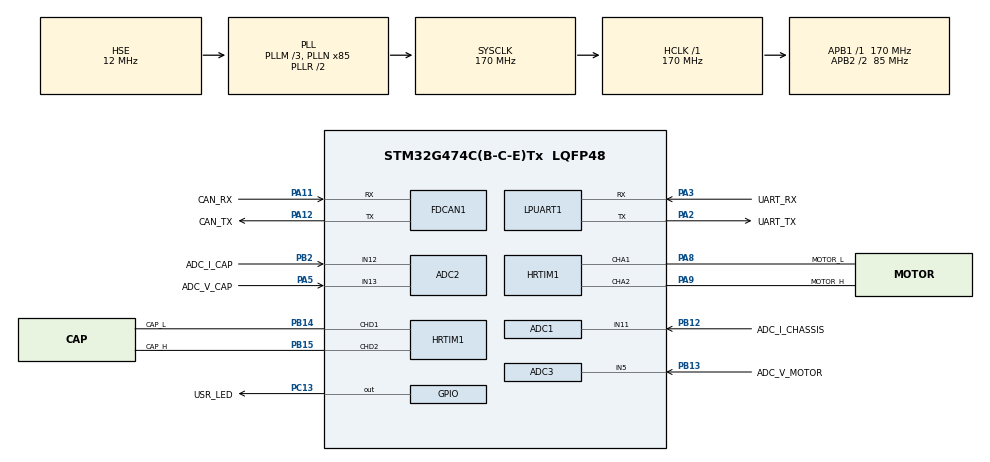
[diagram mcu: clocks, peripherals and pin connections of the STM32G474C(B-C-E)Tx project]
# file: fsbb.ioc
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ADC1.Channel-0\#ChannelRegularConversion=ADC_CHANNEL_11
ADC1.Channel-1\#ChannelRegularConversion=ADC_CHANNEL_11
ADC1.ContinuousConvMode=DISABLE
ADC1.DMAContinuousRequests=ENABLE
ADC1.EOCSelection=ADC_EOC_SEQ_CONV
ADC1.ExternalTrigConv=ADC_EXTERNALTRIG_HRTIM_TRG1
ADC1.NbrOfConversion=2
ADC1.NbrOfConversionFlag=1
ADC1.OffsetNumber-0\#ChannelRegularConversion=ADC_OFFSET_NONE
ADC1.OffsetNumber-1\#ChannelRegularConversion=ADC_OFFSET_NONE
ADC1.Overrun=ADC_OVR_DATA_OVERWRITTEN
ADC1.OversamplingMode=ENABLE
ADC1.OversamplingStopReset=ADC_REGOVERSAMPLING_CONTINUED_MODE
ADC1.Rank-0\#ChannelRegularConversion=1
ADC1.Rank-1\#ChannelRegularConversion=2
ADC1.Ratio=ADC_OVERSAMPLING_RATIO_16
ADC1.RightBitShift=ADC_RIGHTBITSHIFT_NONE
ADC1.SamplingTime-0\#ChannelRegularConversion=ADC_SAMPLETIME_12CYCLES_5
ADC1.SamplingTime-1\#ChannelRegularConversion=ADC_SAMPLETIME_92CYCLES_5
ADC1.master=1
ADC2.Channel-0\#ChannelRegularConversion=ADC_CHANNEL_12
ADC2.Channel-1\#ChannelRegularConversion=ADC_CHANNEL_13
ADC2.Channel-2\#ChannelRegularConversion=ADC_CHANNEL_12
ADC2.Channel-3\#ChannelRegularConversion=ADC_CHANNEL_13
ADC2.ContinuousConvMode=DISABLE
ADC2.DMAContinuousRequests=ENABLE
ADC2.EOCSelection=ADC_EOC_SEQ_CONV
ADC2.ExternalTrigConv=ADC_EXTERNALTRIG_HRTIM_TRG3
ADC2.NbrOfConversion=4
ADC2.NbrOfConversionFlag=1
ADC2.OffsetNumber-0\#ChannelRegularConversion=ADC_OFFSET_NONE
ADC2.OffsetNumber-1\#ChannelRegularConversion=ADC_OFFSET_NONE
ADC2.OffsetNumber-2\#ChannelRegularConversion=ADC_OFFSET_NONE
ADC2.OffsetNumber-3\#ChannelRegularConversion=ADC_OFFSET_NONE
ADC2.Overrun=ADC_OVR_DATA_OVERWRITTEN
ADC2.OversamplingMode=ENABLE
ADC2.Rank-0\#ChannelRegularConversion=1
ADC2.Rank-1\#ChannelRegularConversion=2
ADC2.Rank-2\#ChannelRegularConversion=3
ADC2.Rank-3\#ChannelRegularConversion=4
ADC2.Ratio=ADC_OVERSAMPLING_RATIO_16
ADC2.RightBitShift=ADC_RIGHTBITSHIFT_NONE
ADC2.SamplingTime-0\#ChannelRegularConversion=ADC_SAMPLETIME_12CYCLES_5
ADC2.SamplingTime-1\#ChannelRegularConversion=ADC_SAMPLETIME_92CYCLES_5
ADC2.SamplingTime-2\#ChannelRegularConversion=ADC_SAMPLETIME_92CYCLES_5
ADC2.SamplingTime-3\#ChannelRegularConversion=ADC_SAMPLETIME_92CYCLES_5
ADC3.Channel-0\#ChannelRegularConversion=ADC_CHANNEL_5
ADC3.Channel-1\#ChannelRegularConversion=ADC_CHANNEL_5
ADC3.ContinuousConvMode=DISABLE
ADC3.DMAContinuousRequests=ENABLE
ADC3.EOCSelection=ADC_EOC_SEQ_CONV
ADC3.ExternalTrigConv=ADC_EXTERNALTRIG_HRTIM_TRG1
ADC3.NbrOfConversion=2
ADC3.NbrOfConversionFlag=1
ADC3.OffsetNumber-0\#ChannelRegularConversion=ADC_OFFSET_NONE
ADC3.OffsetNumber-1\#ChannelRegularConversion=ADC_OFFSET_NONE
ADC3.Overrun=ADC_OVR_DATA_OVERWRITTEN
ADC3.OversamplingMode=ENABLE
ADC3.Rank-0\#ChannelRegularConversion=1
ADC3.Rank-1\#ChannelRegularConversion=2
ADC3.Ratio=ADC_OVERSAMPLING_RATIO_16
ADC3.RightBitShift=ADC_RIGHTBITSHIFT_NONE
ADC3.SamplingTime-0\#ChannelRegularConversion=ADC_SAMPLETIME_92CYCLES_5
ADC3.SamplingTime-1\#ChannelRegularConversion=ADC_SAMPLETIME_92CYCLES_5
ADC3.master=1
Dma.ADC1.0.Direction=DMA_PERIPH_TO_MEMORY
Dma.ADC1.0.EventEnable=DISABLE
Dma.ADC1.0.Instance=DMA1_Channel1
Dma.ADC1.0.MemDataAlignment=DMA_MDATAALIGN_HALFWORD
Dma.ADC1.0.MemInc=DMA_MINC_ENABLE
Dma.ADC1.0.Mode=DMA_CIRCULAR
Dma.ADC1.0.PeriphDataAlignment=DMA_PDATAALIGN_HALFWORD
Dma.ADC1.0.PeriphInc=DMA_PINC_DISABLE
Dma.ADC1.0.Polarity=HAL_DMAMUX_REQ_GEN_RISING
Dma.ADC1.0.Priority=DMA_PRIORITY_VERY_HIGH
Dma.ADC1.0.RequestNumber=1
Dma.ADC1.0.SignalID=NONE
Dma.ADC1.0.SyncEnable=DISABLE
Dma.ADC1.0.SyncPolarity=HAL_DMAMUX_SYNC_NO_EVENT
Dma.ADC1.0.SyncRequestNumber=1
Dma.ADC1.0.SyncSignalID=NONE
Dma.ADC2.1.Direction=DMA_PERIPH_TO_MEMORY
Dma.ADC2.1.EventEnable=DISABLE
Dma.ADC2.1.Instance=DMA1_Channel2
Dma.ADC2.1.MemDataAlignment=DMA_MDATAALIGN_HALFWORD
Dma.ADC2.1.MemInc=DMA_MINC_ENABLE
Dma.ADC2.1.Mode=DMA_CIRCULAR
Dma.ADC2.1.PeriphDataAlignment=DMA_PDATAALIGN_HALFWORD
Dma.ADC2.1.PeriphInc=DMA_PINC_DISABLE
Dma.ADC2.1.Polarity=HAL_DMAMUX_REQ_GEN_RISING
Dma.ADC2.1.Priority=DMA_PRIORITY_VERY_HIGH
Dma.ADC2.1.RequestNumber=1
Dma.ADC2.1.SignalID=NONE
Dma.ADC2.1.SyncEnable=DISABLE
Dma.ADC2.1.SyncPolarity=HAL_DMAMUX_SYNC_NO_EVENT
Dma.ADC2.1.SyncRequestNumber=1
Dma.ADC2.1.SyncSignalID=NONE
Dma.ADC3.2.Direction=DMA_PERIPH_TO_MEMORY
Dma.ADC3.2.EventEnable=DISABLE
Dma.ADC3.2.Instance=DMA1_Channel3
Dma.ADC3.2.MemDataAlignment=DMA_MDATAALIGN_HALFWORD
Dma.ADC3.2.MemInc=DMA_MINC_ENABLE
Dma.ADC3.2.Mode=DMA_CIRCULAR
Dma.ADC3.2.PeriphDataAlignment=DMA_PDATAALIGN_HALFWORD
Dma.ADC3.2.PeriphInc=DMA_PINC_DISABLE
Dma.ADC3.2.Polarity=HAL_DMAMUX_REQ_GEN_RISING
Dma.ADC3.2.Priority=DMA_PRIORITY_VERY_HIGH
Dma.ADC3.2.RequestNumber=1
Dma.ADC3.2.SignalID=NONE
Dma.ADC3.2.SyncEnable=DISABLE
Dma.ADC3.2.SyncPolarity=HAL_DMAMUX_SYNC_NO_EVENT
Dma.ADC3.2.SyncRequestNumber=1
Dma.ADC3.2.SyncSignalID=NONE
Dma.LPUART1_RX.3.Direction=DMA_PERIPH_TO_MEMORY
Dma.LPUART1_RX.3.EventEnable=DISABLE
Dma.LPUART1_RX.3.Instance=DMA1_Channel6
Dma.LPUART1_RX.3.MemDataAlignment=DMA_MDATAALIGN_BYTE
Dma.LPUART1_RX.3.MemInc=DMA_MINC_ENABLE
Dma.LPUART1_RX.3.Mode=DMA_CIRCULAR
Dma.LPUART1_RX.3.PeriphDataAlignment=DMA_PDATAALIGN_BYTE
Dma.LPUART1_RX.3.PeriphInc=DMA_PINC_DISABLE
Dma.LPUART1_RX.3.Polarity=HAL_DMAMUX_REQ_GEN_RISING
Dma.LPUART1_RX.3.Priority=DMA_PRIORITY_HIGH
Dma.LPUART1_RX.3.RequestNumber=1
Dma.LPUART1_RX.3.SignalID=NONE
Dma.LPUART1_RX.3.SyncEnable=DISABLE
Dma.LPUART1_RX.3.SyncPolarity=HAL_DMAMUX_SYNC_NO_EVENT
Dma.LPUART1_RX.3.SyncRequestNumber=1
Dma.LPUART1_RX.3.SyncSignalID=NONE
Dma.Request0=ADC1
Dma.Request1=ADC2
Dma.Request2=ADC3
Dma.Request3=LPUART1_RX
FDCAN1.AutoRetransmission=ENABLE
FDCAN1.CalculateBaudRateNominal=1000000
FDCAN1.CalculateTimeBitNominal=1000
FDCAN1.CalculateTimeQuantumNominal=100.0
FDCAN1.ClockDivider=FDCAN_CLOCK_DIV1
FDCAN1.DataPrescaler=17
FDCAN1.DataSyncJumpWidth=4
FDCAN1.DataTimeSeg1=6
FDCAN1.DataTimeSeg2=3
FDCAN1.NominalPrescaler=17
FDCAN1.NominalSyncJumpWidth=4
FDCAN1.NominalTimeSeg1=6
FDCAN1.NominalTimeSeg2=3
FDCAN1.ProtocolException=ENABLE
FDCAN1.StdFiltersNbr=1
HRTIM1.ADCTrigger1_Source1=HRTIM_ADCTRIGGEREVENT13_MASTER_PERIOD
HRTIM1.ADCTrigger3_Source1=HRTIM_ADCTRIGGEREVENT13_MASTER_CMP1
HRTIM1.ADCTrigger_Id1=HRTIM_ADCTRIGGER_1
HRTIM1.ADCTrigger_Id2=__NULL
HRTIM1.ADCTrigger_Id3=HRTIM_ADCTRIGGER_3
HRTIM1.ADCTrigger_Id5=__NULL
HRTIM1.BurstDMAconfig-MasterTimer=__NULL
HRTIM1.CompareUnit1-MasterTimer=HRTIM_COMPAREUNIT_1
HRTIM1.CompareUnit1-Output_TA1TA2=HRTIM_COMPAREUNIT_1
HRTIM1.CompareUnit1-Output_TD1TD2=HRTIM_COMPAREUNIT_1
HRTIM1.CompareUnit2-Output_TA1TA2=__NULL
HRTIM1.CompareUnit2-Output_TD1TD2=__NULL
HRTIM1.CompareUnit3-MasterTimer=__NULL
HRTIM1.CompareUnit3-Output_TA1TA2=HRTIM_COMPAREUNIT_3
HRTIM1.CompareUnit3-Output_TD1TD2=HRTIM_COMPAREUNIT_3
HRTIM1.CompareValue1-MasterTimer=13600
HRTIM1.CompareValue1-Output_TA1TA2=13600
HRTIM1.CompareValue1-Output_TD1TD2=13600
HRTIM1.CompareValue3-Output_TA1TA2=13600
HRTIM1.CompareValue3-Output_TD1TD2=13600
HRTIM1.DeadTimeInsertion-Output_TA1TA2=HRTIM_TIMDEADTIMEINSERTION_ENABLED
HRTIM1.DeadTimeInsertion-Output_TD1TD2=HRTIM_TIMDEADTIMEINSERTION_ENABLED
HRTIM1.Deadtimeconfig-Output_TD1TD2=HRTIM_TIMERINDEX_TIMER_D
HRTIM1.Enable=HRTIM_BURSTMODECTL_DISABLED
HRTIM1.FallingValue-Output_TA1TA2=50
HRTIM1.FallingValue-Output_TD1TD2=50
HRTIM1.HRTIMInterruptResquests1=HRTIM_IT_NONE
HRTIM1.InterruptRequests1_Master=HRTIM_MASTER_IT_MREP
HRTIM1.NumberADCTriggerSource1=1
HRTIM1.NumberADCTriggerSource3=1
HRTIM1.NumberDMARequests_TA=0
HRTIM1.NumberDMARequests_TD=0
HRTIM1.NumberInterruptRequests_Master-MasterTimer=1
HRTIM1.NumberResetSource1-Output_TA1TA2=1
HRTIM1.NumberResetSource1-Output_TD1TD2=1
HRTIM1.NumberResetTrigger-Output_TA1TA2=1
HRTIM1.NumberResetTrigger-Output_TD1TD2=1
HRTIM1.NumberSetSource1-Output_TA1TA2=1
HRTIM1.NumberSetSource1-Output_TD1TD2=1
HRTIM1.NumberUpdateTrigger-Output_TA1TA2=1
HRTIM1.NumberUpdateTrigger-Output_TD1TD2=1
HRTIM1.Periode_MASTER=27200
HRTIM1.Periode_TA=27200
HRTIM1.Periode_TD=27200
HRTIM1.PreloadEnable-MasterTimer=HRTIM_PRELOAD_ENABLED
HRTIM1.PreloadEnable-Output_TA1TA2=HRTIM_PRELOAD_ENABLED
HRTIM1.PreloadEnable-Output_TD1TD2=HRTIM_PRELOAD_ENABLED
HRTIM1.RepetitionCounter-MasterTimer=10
HRTIM1.RepetitionUpdate-MasterTimer=HRTIM_UPDATEONREPETITION_ENABLED
HRTIM1.RepetitionUpdate-Output_TA1TA2=HRTIM_UPDATEONREPETITION_ENABLED
HRTIM1.RepetitionUpdate-Output_TD1TD2=HRTIM_UPDATEONREPETITION_ENABLED
HRTIM1.ResetOutput1_Source1-Output_TA1TA2=HRTIM_OUTPUTRESET_TIMCMP3
HRTIM1.ResetOutput1_Source1-Output_TD1TD2=HRTIM_OUTPUTRESET_TIMCMP3
HRTIM1.ResetTrigger1-Output_TA1TA2=HRTIM_TIMRESETTRIGGER_MASTER_PER
HRTIM1.ResetTrigger1-Output_TD1TD2=HRTIM_TIMRESETTRIGGER_MASTER_PER
HRTIM1.ResetUpdate-Output_TA1TA2=HRTIM_TIMUPDATEONRESET_ENABLED
HRTIM1.RisingValue-Output_TA1TA2=50
HRTIM1.RisingValue-Output_TD1TD2=50
HRTIM1.SetOutput1_Source1-Output_TA1TA2=HRTIM_OUTPUTSET_TIMCMP1
HRTIM1.SetOutput1_Source1-Output_TD1TD2=HRTIM_OUTPUTSET_TIMCMP1
HRTIM1.Timeout=100
HRTIM1.UpDownMode-Output_TA1TA2=HRTIM_TIMERUPDOWNMODE_UP
HRTIM1.UpDownMode-Output_TD1TD2=HRTIM_TIMERUPDOWNMODE_UP
HRTIM1.UpdateTrigger1-Output_TA1TA2=HRTIM_TIMUPDATETRIGGER_MASTER
HRTIM1.UpdateTrigger1-Output_TD1TD2=HRTIM_TIMUPDATETRIGGER_MASTER
HRTIM1.postscaler1=10-1
HRTIM1.postscaler3=10-1
Mcu.Family=STM32G4
Mcu.Name=STM32G474C(B-C-E)Tx
Mcu.Package=LQFP48
NVIC.ADC1_2_IRQn=true\:3\:0\:true\:false\:true\:true\:true\:true
NVIC.ADC3_IRQn=true\:3\:0\:true\:false\:true\:true\:true\:true
NVIC.DMA1_Channel1_IRQn=true\:0\:0\:false\:false\:true\:false\:true\:true
NVIC.DMA1_Channel2_IRQn=true\:0\:0\:false\:false\:true\:false\:true\:true
NVIC.DMA1_Channel3_IRQn=true\:0\:0\:false\:false\:true\:false\:true\:true
NVIC.DMA1_Channel6_IRQn=true\:0\:0\:false\:false\:true\:false\:true\:true
NVIC.FDCAN1_IT0_IRQn=true\:2\:0\:true\:false\:true\:true\:true\:true
NVIC.HRTIM1_Master_IRQn=true\:2\:0\:true\:false\:true\:true\:true\:true
NVIC.LPUART1_IRQn=true\:3\:0\:true\:false\:true\:true\:true\:true
NVIC.PriorityGroup=NVIC_PRIORITYGROUP_4
NVIC.TIM1_UP_TIM16_IRQn=true\:1\:0\:true\:false\:true\:true\:true\:true
NVIC.TIM6_DAC_IRQn=true\:1\:0\:true\:false\:true\:true\:true\:true
PA11.GPIO_Label=CAN_RX
PA11.Mode=FDCAN_Activate
PA11.Signal=FDCAN1_RX
PA12.GPIO_Label=CAN_TX
PA12.GPIO_PuPd=GPIO_NOPULL
PA12.Mode=FDCAN_Activate
PA12.Signal=FDCAN1_TX
PA13.GPIO_Label=SWDIO
PA13.Mode=Serial_Wire
PA13.Signal=SYS_JTMS-SWDIO
PA14.GPIO_Label=SWCLK
PA14.Mode=Serial_Wire
PA14.Signal=SYS_JTCK-SWCLK
PA2.GPIO_Label=UART_TX
PA2.Mode=Asynchronous
PA2.Signal=LPUART1_TX
PA3.GPIO_Label=UART_RX
PA3.Mode=Asynchronous
PA3.Signal=LPUART1_RX
PA5.GPIO_Label=ADC_V_CAP
PA5.Mode=IN13-Single-Ended
PA5.Signal=ADC2_IN13
PA8.GPIO_Label=MOTOR_L
PA8.GPIO_PuPd=GPIO_PULLDOWN
PA8.Mode=Output_TA1TA2
PA8.Signal=HRTIM1_CHA1
PA9.GPIO_Label=MOTOR_H
PA9.GPIO_PuPd=GPIO_PULLDOWN
PA9.Mode=Output_TA1TA2
PA9.Signal=HRTIM1_CHA2
PB12.GPIO_Label=ADC_I_CHASSIS
PB12.Mode=IN11-Single-Ended
PB12.Signal=ADC1_IN11
PB13.GPIO_Label=ADC_V_MOTOR
PB13.Mode=IN5-Single-Ended
PB13.Signal=ADC3_IN5
PB14.GPIO_Label=CAP_L
PB14.GPIO_PuPd=GPIO_PULLDOWN
PB14.Mode=Output_TD1TD2
PB14.Signal=HRTIM1_CHD1
PB15.GPIO_Label=CAP_H
PB15.GPIO_PuPd=GPIO_PULLDOWN
PB15.Mode=Output_TD1TD2
PB15.Signal=HRTIM1_CHD2
PB2.GPIO_Label=ADC_I_CAP
PB2.Mode=IN12-Single-Ended
PB2.Signal=ADC2_IN12
PC13.GPIO_Label=USR_LED
PC13.GPIO_PuPd=GPIO_PULLUP
PC13.PinState=GPIO_PIN_SET
PC13.Signal=GPIO_Output
PF0-OSC_IN.GPIO_Label=OSC_IN
PF0-OSC_IN.Mode=HSE-External-Oscillator
PF0-OSC_IN.Signal=RCC_OSC_IN
PF1-OSC_OUT.GPIO_Label=OSC_OUT
PF1-OSC_OUT.Mode=HSE-External-Oscillator
PF1-OSC_OUT.Signal=RCC_OSC_OUT
ProjectManager.HeapSize=0x2000
ProjectManager.StackSize=0x4000
ProjectManager.TargetToolchain=STM32CubeIDE
RCC.ADC12Freq_Value=170000000
RCC.ADC345Freq_Value=170000000
RCC.AHBFreq_Value=170000000
RCC.APB1Freq_Value=170000000
RCC.APB1TimFreq_Value=170000000
RCC.APB2CLKDivider=RCC_HCLK_DIV2
RCC.APB2Freq_Value=85000000
RCC.APB2TimFreq_Value=170000000
RCC.CortexFreq_Value=170000000
RCC.EXTERNAL_CLOCK_VALUE=12288000
RCC.HCLKFreq_Value=170000000
RCC.HSE_VALUE=12000000
RCC.HSI48_VALUE=48000000
RCC.HSI_VALUE=16000000
RCC.LSE_VALUE=32768
RCC.PLLM=RCC_PLLM_DIV3
RCC.PLLN=85
RCC.PLLSourceVirtual=RCC_PLLSOURCE_HSE
RCC.SYSCLKFreq_VALUE=170000000
RCC.SYSCLKSource=RCC_SYSCLKSOURCE_PLLCLK
RCC.USBFreq_Value=170000000
RCC.VCOOutputFreq_Value=340000000
STMicroelectronics.X-CUBE-ALGOBUILD.1.4.0.LibraryCcDSPOoLibraryJjDSPOoLibrary=true
TIM16.AutoReloadPreload=TIM_AUTORELOAD_PRELOAD_ENABLE
TIM16.PeriodNoDither=2000-1
TIM16.Prescaler=170
TIM6.AutoReloadPreload=TIM_AUTORELOAD_PRELOAD_ENABLE
TIM6.Dithering=Disable
TIM6.PeriodNoDither=50-1
TIM6.Prescaler=170
VP_HRTIM1_VS_hrtimMasterTimerNoOutput.Mode=MasterTimer
VP_STMicroelectronics.X-CUBE-ALGOBUILD_VS_DSPOoLibraryJjLibrary_1.4.0_1.4.0.Mode=DSPOoLibraryJjLibrary
VP_SYS_VS_DBSignals.Mode=DisableDeadBatterySignals
VP_TIM16_VS_ClockSourceINT.Mode=Enable_Timer
VP_TIM6_VS_ClockSourceINT.Mode=Enable_Timer
board=custom

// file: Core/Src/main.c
/* USER CODE BEGIN Header */
/**
 ******************************************************************************
 * @file           : main.c
 * @brief          : Main program body
 ******************************************************************************
 * @attention
 *
 * Copyright (c) 2024 STMicroelectronics.
 * All rights reserved.
 *
 * This software is licensed under terms that can be found in the LICENSE file
 * in the root directory of this software component.
 * If no LICENSE file comes with this software, it is provided AS-IS.
 *
 ******************************************************************************
 */
/* USER CODE END Header */
#include "main.h"
#include "adc.h"
#include "dma.h"
#include "fdcan.h"
#include "hrtim.h"
#include "usart.h"
#include "tim.h"
#include "gpio.h"

/* USER CODE BEGIN Includes */
#include "fsbb_pwm.h"
#include "analog_signal.h"
#include "mean_filter.h"
#include "incremental_pid.h"
#include "comm.h"
/* USER CODE END Includes */

void SystemClock_Config(void);
/* USER CODE BEGIN PFP */
void my_pid_init(void)
{
    incremental_pid_init(&pid_cap_voltage_h, 0.85f, 0.008f, 0, -CAP_CURRENT_MAX, CAP_CURRENT_MAX);
    incremental_pid_init(&pid_cap_voltage_l, 0.7f, 0.015f, 0, -CAP_CURRENT_MAX, CAP_CURRENT_MAX);
    incremental_pid_init(&pid_power, 0.0009f, 0.00075f, 0, -CAP_CURRENT_MAX, CAP_CURRENT_MAX);
    incremental_pid_init(&pid_current, 0.001f, 0.00045f, 0, FACTOR_MIN, FACTOR_MAX);

    pid_cap_voltage_h.setValue = CAP_VOLTAGE_MAX;
    pid_cap_voltage_l.setValue = CAP_VOLTAGE_MIN;
    pid_power.setValue         = DEFAULT_TARGET_POWER;
}

/* USER CODE END PFP */

int main(void)
{

    /* MCU Configuration--------------------------------------------------------*/

    /* Reset of all peripherals, Initializes the Flash interface and the Systick. */
    HAL_Init();

    /* Configure the system clock */
    SystemClock_Config();

    /* Initialize all configured peripherals */
    MX_GPIO_Init();
    MX_DMA_Init();
    MX_ADC1_Init();
    MX_ADC2_Init();
    MX_ADC3_Init();
    MX_FDCAN1_Init();
    MX_HRTIM1_Init();
    MX_LPUART1_UART_Init();
    MX_TIM6_Init();
    MX_TIM16_Init();
    /* USER CODE BEGIN 2 */

    // 这部分要集合成一个函数
    // 初始化pid
    my_pid_init();

    // 启动hritm和adc
    fsbb_pwm_init();
    HAL_Delay(2);
    BSP_ADC_Convert_Start();
    HAL_Delay(2);

    // can通讯初始化
    comm_init();

    HAL_Delay(2);
    HAL_FDCAN_Start(&hfdcan1);

    // 启动定时器tim16
    HAL_TIM_Base_Start_IT(&htim16);
    HAL_Delay(2);
    HAL_TIM_Base_Start_IT(&htim6);

    //测试用-临时忽略保护
    HAL_Delay(2);
    fsbb_pwm_output_start();
    //
        /* USER CODE END 2 */

        /* Infinite loop */
        /* USER CODE BEGIN WHILE */
        while (1)
    {
        // can_send();
        // HAL_Delay(114);
        // HAL_GPIO_TogglePin(USR_LED_GPIO_Port, USR_LED_Pin);
        /* USER CODE END WHILE */

    }
}

void SystemClock_Config(void)
{
    RCC_OscInitTypeDef RCC_OscInitStruct = {0};
    RCC_ClkInitTypeDef RCC_ClkInitStruct = {0};

    /** Configure the main internal regulator output voltage
     */
    HAL_PWREx_ControlVoltageScaling(PWR_REGULATOR_VOLTAGE_SCALE1_BOOST);

    /** Initializes the RCC Oscillators according to the specified parameters
     * in the RCC_OscInitTypeDef structure.
     */
    RCC_OscInitStruct.OscillatorType = RCC_OSCILLATORTYPE_HSE;
    RCC_OscInitStruct.HSEState       = RCC_HSE_ON;
    RCC_OscInitStruct.PLL.PLLState   = RCC_PLL_ON;
    RCC_OscInitStruct.PLL.PLLSource  = RCC_PLLSOURCE_HSE;
    RCC_OscInitStruct.PLL.PLLM       = RCC_PLLM_DIV3;
    RCC_OscInitStruct.PLL.PLLN       = 85;
    RCC_OscInitStruct.PLL.PLLP       = RCC_PLLP_DIV2;
    RCC_OscInitStruct.PLL.PLLQ       = RCC_PLLQ_DIV2;
    RCC_OscInitStruct.PLL.PLLR       = RCC_PLLR_DIV2;
    if (HAL_RCC_OscConfig(&RCC_OscInitStruct) != HAL_OK) {
        Error_Handler();
    }

    /** Initializes the CPU, AHB and APB buses clocks
     */
    RCC_ClkInitStruct.ClockType      = RCC_CLOCKTYPE_HCLK | RCC_CLOCKTYPE_SYSCLK | RCC_CLOCKTYPE_PCLK1 | RCC_CLOCKTYPE_PCLK2;
    RCC_ClkInitStruct.SYSCLKSource   = RCC_SYSCLKSOURCE_PLLCLK;
    RCC_ClkInitStruct.AHBCLKDivider  = RCC_SYSCLK_DIV1;
    RCC_ClkInitStruct.APB1CLKDivider = RCC_HCLK_DIV1;
    RCC_ClkInitStruct.APB2CLKDivider = RCC_HCLK_DIV2;

    if (HAL_RCC_ClockConfig(&RCC_ClkInitStruct, FLASH_LATENCY_4) != HAL_OK) {
        Error_Handler();
    }
}

void Error_Handler(void)
{
    __disable_irq();
    while (1) {
    }
}
